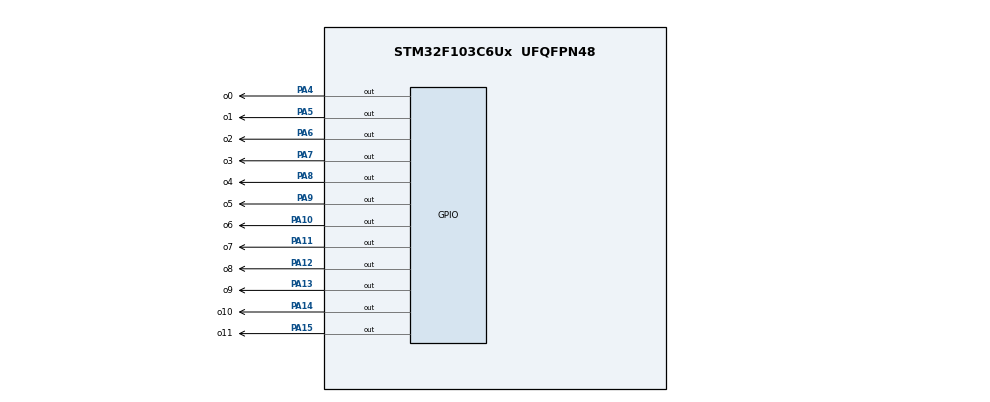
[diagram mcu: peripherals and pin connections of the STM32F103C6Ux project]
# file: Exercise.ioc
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Mcu.Family=STM32F1
Mcu.Name=STM32F103C6Ux
Mcu.Package=UFQFPN48
NVIC.PriorityGroup=NVIC_PRIORITYGROUP_4
PA10.GPIO_Label=o6
PA10.Signal=GPIO_Output
PA11.GPIO_Label=o7
PA11.Signal=GPIO_Output
PA12.GPIO_Label=o8
PA12.Signal=GPIO_Output
PA13.GPIO_Label=o9
PA13.Signal=GPIO_Output
PA14.GPIO_Label=o10
PA14.Signal=GPIO_Output
PA15.GPIO_Label=o11
PA15.Signal=GPIO_Output
PA4.GPIO_Label=o0
PA4.Signal=GPIO_Output
PA5.GPIO_Label=o1
PA5.Signal=GPIO_Output
PA6.GPIO_Label=o2
PA6.Signal=GPIO_Output
PA7.GPIO_Label=o3
PA7.Signal=GPIO_Output
PA8.GPIO_Label=o4
PA8.Signal=GPIO_Output
PA9.GPIO_Label=o5
PA9.Signal=GPIO_Output
ProjectManager.HeapSize=0x200
ProjectManager.StackSize=0x400
ProjectManager.TargetToolchain=STM32CubeIDE
RCC.APB1Freq_Value=8000000
RCC.APB2Freq_Value=8000000
VP_SYS_VS_ND.Mode=No_Debug
board=custom

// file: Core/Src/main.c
/* USER CODE BEGIN Header */
/**
  ******************************************************************************
  * @file           : main.c
  * @brief          : Main program body
  ******************************************************************************
  * @attention
  *
  * <h2><center>&copy; Copyright (c) 2024 STMicroelectronics.
  * All rights reserved.</center></h2>
  *
  * This software component is licensed by ST under BSD 3-Clause license,
  * the "License"; You may not use this file except in compliance with the
  * License. You may obtain a copy of the License at:
  *                        opensource.org/licenses/BSD-3-Clause
  *
  ******************************************************************************
  */
/* USER CODE END Header */
#include "main.h"

/* USER CODE BEGIN Includes */
#include "Ex8.c"
#include "Ex9.c"
/* USER CODE END Includes */

void SystemClock_Config(void);
static void MX_GPIO_Init(void);

int main(void)
{

  /* MCU Configuration--------------------------------------------------------*/

  /* Reset of all peripherals, Initializes the Flash interface and the Systick. */
  HAL_Init();

  /* Configure the system clock */
  SystemClock_Config();

  /* Initialize all configured peripherals */
  MX_GPIO_Init();

  /* Infinite loop */
  /* USER CODE BEGIN WHILE */
  	int hour = 0;
	int minute = 0;
	int second = 0;
	int countSecond = 0;
	int countMinute = 0;
	while (1)
  	{
  		setNumberOnClock(hour);
  		setNumberOnClock(minute);
  		setNumberOnClock(second);
  		HAL_Delay(500);
  		clearNumberOnClock(hour);
  		clearNumberOnClock(minute);
  		clearNumberOnClock(second);

  		countSecond++;
  		if (countSecond >= 5)
  		{
  			second++;
  			countSecond = 0;
  		}

  		if (second >= 12)
  		{
  			second = 0;
  			countMinute++;
  		}

  		if (countMinute >= 5)
  		{
  			minute++;
  			countMinute = 0;
  		}

  		if (minute >= 12)
  		{
  			minute = 0;
  			hour++;
  		}

  		if (hour >= 12)
  		{
  			hour = 0;
  		}
    /* USER CODE END WHILE */

  	}
}

void SystemClock_Config(void)
{
  RCC_OscInitTypeDef RCC_OscInitStruct = {0};
  RCC_ClkInitTypeDef RCC_ClkInitStruct = {0};

  /** Initializes the RCC Oscillators according to the specified parameters
  * in the RCC_OscInitTypeDef structure.
  */
  RCC_OscInitStruct.OscillatorType = RCC_OSCILLATORTYPE_HSI;
  RCC_OscInitStruct.HSIState = RCC_HSI_ON;
  RCC_OscInitStruct.HSICalibrationValue = RCC_HSICALIBRATION_DEFAULT;
  RCC_OscInitStruct.PLL.PLLState = RCC_PLL_NONE;
  if (HAL_RCC_OscConfig(&RCC_OscInitStruct) != HAL_OK)
  {
    Error_Handler();
  }
  /** Initializes the CPU, AHB and APB buses clocks
  */
  RCC_ClkInitStruct.ClockType = RCC_CLOCKTYPE_HCLK|RCC_CLOCKTYPE_SYSCLK
                              |RCC_CLOCKTYPE_PCLK1|RCC_CLOCKTYPE_PCLK2;
  RCC_ClkInitStruct.SYSCLKSource = RCC_SYSCLKSOURCE_HSI;
  RCC_ClkInitStruct.AHBCLKDivider = RCC_SYSCLK_DIV1;
  RCC_ClkInitStruct.APB1CLKDivider = RCC_HCLK_DIV1;
  RCC_ClkInitStruct.APB2CLKDivider = RCC_HCLK_DIV1;

  if (HAL_RCC_ClockConfig(&RCC_ClkInitStruct, FLASH_LATENCY_0) != HAL_OK)
  {
    Error_Handler();
  }
}

static void MX_GPIO_Init(void)
{
  GPIO_InitTypeDef GPIO_InitStruct = {0};

  /* GPIO Ports Clock Enable */
  __HAL_RCC_GPIOA_CLK_ENABLE();

  /*Configure GPIO pin Output Level */
  HAL_GPIO_WritePin(GPIOA, o0_Pin|o1_Pin|o2_Pin|o3_Pin
                          |o4_Pin|o5_Pin|o6_Pin|o7_Pin
                          |o8_Pin|o9_Pin|o10_Pin|o11_Pin, GPIO_PIN_RESET);

  /*Configure GPIO pins : o0_Pin o1_Pin o2_Pin o3_Pin
                           o4_Pin o5_Pin o6_Pin o7_Pin
                           o8_Pin o9_Pin o10_Pin o11_Pin */
  GPIO_InitStruct.Pin = o0_Pin|o1_Pin|o2_Pin|o3_Pin
                          |o4_Pin|o5_Pin|o6_Pin|o7_Pin
                          |o8_Pin|o9_Pin|o10_Pin|o11_Pin;
  GPIO_InitStruct.Mode = GPIO_MODE_OUTPUT_PP;
  GPIO_InitStruct.Pull = GPIO_NOPULL;
  GPIO_InitStruct.Speed = GPIO_SPEED_FREQ_LOW;
  HAL_GPIO_Init(GPIOA, &GPIO_InitStruct);

}

void Error_Handler(void)
{
  __disable_irq();
  while (1)
  {
  }
}

/************************ (C) COPYRIGHT STMicroelectronics *****END OF FILE****/
